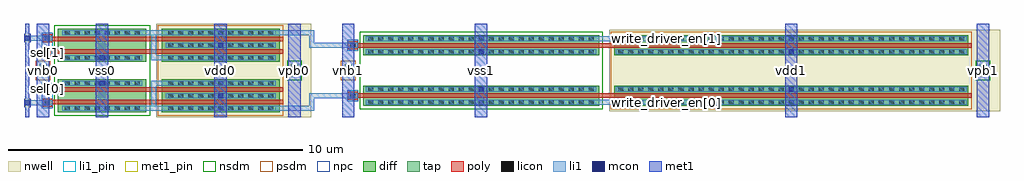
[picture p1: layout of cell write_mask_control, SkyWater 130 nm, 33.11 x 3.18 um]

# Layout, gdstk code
import gdstk
lib = gdstk.Library(unit=1e-6, precision=1e-09)
def R(c, l, rs):  # rectangles x0, y0, x1, y1
    for r in rs: c.add(gdstk.rectangle(r[:2], r[2:], *l))
def A(c, l, x, y, w, h, nx, ny, dx, dy):  # array of equal rectangles
    R(c, l, [(x+i*dx, y+j*dy, x+i*dx+w, y+j*dy+h) for i in range(nx) for j in range(ny)])
nwell = (64, 20)
diff = (65, 20)
tap = (65, 44)
poly = (66, 20)
licon = (66, 44)
li1_pin = (67, 16)
li1 = (67, 20)
mcon = (67, 44)
met1_pin = (68, 16)
met1 = (68, 20)
nsdm = (93, 44)
psdm = (94, 20)
npc = (95, 20)

ntap_1x1v = lib.new_cell('ntap_1x1v')
R(ntap_1x1v, tap, [(-0.04,-0.12,0.21,0.29)])
R(ntap_1x1v, licon, [(0,0,0.17,0.17)])
R(ntap_1x1v, li1, [(0,-0.08,0.17,0.25)])
R(ntap_1x1v, nsdm, [(-0.165,-0.245,0.335,0.415)])

ptap_1x1v = lib.new_cell('ptap_1x1v')
R(ptap_1x1v, tap, [(-0.04,-0.12,0.21,0.29)])
R(ptap_1x1v, licon, [(0,0,0.17,0.17)])
R(ptap_1x1v, li1, [(0,-0.08,0.17,0.25)])
R(ptap_1x1v, psdm, [(-0.165,-0.245,0.335,0.415)])

viali_1x1v = lib.new_cell('viali_1x1v')
R(viali_1x1v, li1, [(0,0,0.17,0.17)])
R(viali_1x1v, mcon, [(0,0,0.17,0.17)])
R(viali_1x1v, met1, [(-0.03,-0.06,0.2,0.23)])

viali_1x1h = lib.new_cell('viali_1x1h')
R(viali_1x1h, li1, [(0,0,0.17,0.17)])
R(viali_1x1h, mcon, [(0,0,0.17,0.17)])
R(viali_1x1h, met1, [(-0.06,-0.03,0.23,0.2)])

write_mask_control_and2_ = lib.new_cell('write_mask_control_and2_array_nand_array_route')
R(write_mask_control_and2_, met1, [(-0.715,-0.18,-0.295,3), (1.29,-0.18,1.71,3), (5.31,-0.18,5.73,3), (7.815,-0.18,8.235,3)])
write_mask_control_and2_.add(gdstk.Reference(viali_1x1v, (7.94,1.325)))
write_mask_control_and2_.add(gdstk.Reference(viali_1x1v, (-0.59,1.325)))
write_mask_control_and2_.add(gdstk.Reference(viali_1x1h, (5.435,0.47)))
write_mask_control_and2_.add(gdstk.Reference(viali_1x1h, (5.435,2.18)))
write_mask_control_and2_.add(gdstk.Reference(viali_1x1h, (1.415,0.9)))
write_mask_control_and2_.add(gdstk.Reference(viali_1x1h, (1.415,1.75)))

polyc_1x1h = lib.new_cell('polyc_1x1h')
R(polyc_1x1h, poly, [(-0.08,-0.05,0.25,0.22)])
R(polyc_1x1h, licon, [(0,0,0.17,0.17)])
R(polyc_1x1h, li1, [(-0.08,0,0.25,0.17)])
R(polyc_1x1h, npc, [(-0.1,-0.1,0.27,0.27)])

ndiffc_1x8h = lib.new_cell('ndiffc_1x8h')
R(ndiffc_1x8h, diff, [(-0.06,-0.04,2.61,0.21)])
A(ndiffc_1x8h, licon, 0, 0, 0.17, 0.17, 8, 1, 0.34, 0)
R(ndiffc_1x8h, li1, [(-0.08,0,2.63,0.17)])
R(ndiffc_1x8h, nsdm, [(-0.185,-0.165,2.735,0.335)])

pdiffc_1x11h = lib.new_cell('pdiffc_1x11h')
R(pdiffc_1x11h, nwell, [(-0.24,-0.22,3.81,0.39)])
R(pdiffc_1x11h, diff, [(-0.06,-0.04,3.63,0.21)])
A(pdiffc_1x11h, licon, 0, 0, 0.17, 0.17, 11, 1, 0.34, 0)
R(pdiffc_1x11h, li1, [(-0.08,0,3.65,0.17)])
R(pdiffc_1x11h, psdm, [(-0.185,-0.165,3.755,0.335)])

ptx__nmos_svt_3000_150_2 = lib.new_cell('ptx__nmos_svt_3000_150_2__pmos_svt_4000_150_2')
R(ptx__nmos_svt_3000_150_2, nwell, [(3.34,-0.18,7.7,1.29)])
R(ptx__nmos_svt_3000_150_2, diff, [(0,0,3,1.11), (3.52,0,7.52,1.11)])
R(ptx__nmos_svt_3000_150_2, poly, [(-0.19,0.265,7.65,0.415), (-0.19,0.695,7.65,0.845)])
R(ptx__nmos_svt_3000_150_2, nsdm, [(-0.125,-0.125,3.125,1.235)])
R(ptx__nmos_svt_3000_150_2, psdm, [(3.395,-0.125,7.645,1.235)])
R(ptx__nmos_svt_3000_150_2, npc, [(-0.54,0.13,-0.17,0.98)])
ptx__nmos_svt_3000_150_2.add(gdstk.Reference(polyc_1x1h, (-0.44,0.23)))
ptx__nmos_svt_3000_150_2.add(gdstk.Reference(polyc_1x1h, (-0.44,0.71)))
ptx__nmos_svt_3000_150_2.add(gdstk.Reference(ndiffc_1x8h, (0.225,0.04)))
ptx__nmos_svt_3000_150_2.add(gdstk.Reference(pdiffc_1x11h, (3.735,0.04)))
ptx__nmos_svt_3000_150_2.add(gdstk.Reference(pdiffc_1x11h, (3.735,0.47)))
ptx__nmos_svt_3000_150_2.add(gdstk.Reference(ndiffc_1x8h, (0.225,0.9)))
ptx__nmos_svt_3000_150_2.add(gdstk.Reference(pdiffc_1x11h, (3.735,0.9)))

c_write_mask_control_and2_ = lib.new_cell('write_mask_control_and2_nand')
R(c_write_mask_control_and2_, li1, [(3.17,0.04,3.34,1.07), (3.17,0.04,7.385,0.21), (0.145,0.9,7.385,1.07)])
c_write_mask_control_and2_.add(gdstk.Reference(ptx__nmos_svt_3000_150_2, (0,0)))

c_write_mask_control_and2__ = lib.new_cell('write_mask_control_and2_array_nand_array_array')
c_write_mask_control_and2__.add(gdstk.Reference(c_write_mask_control_and2_, (0,1.11), x_reflection=True))
c_write_mask_control_and2__.add(gdstk.Reference(c_write_mask_control_and2_, (0,1.71)))

c_write_mask_control_and2___ = lib.new_cell('write_mask_control_and2_array_nand_array')
R(c_write_mask_control_and2___, nwell, [(3.34,-0.18,8.6,3)])
R(c_write_mask_control_and2___, met1_pin, [(-0.715,-0.18,-0.295,3), (1.29,-0.18,1.71,3), (5.31,-0.18,5.73,3), (7.815,-0.18,8.235,3)])
R(c_write_mask_control_and2___, nsdm, [(-0.125,-0.125,3.125,2.945)])
R(c_write_mask_control_and2___, psdm, [(3.395,-0.125,7.645,2.945)])
c_write_mask_control_and2___.add(gdstk.Reference(ntap_1x1v, (7.94,1.325)))
c_write_mask_control_and2___.add(gdstk.Reference(ptap_1x1v, (-0.59,1.325)))
c_write_mask_control_and2___.add(gdstk.Reference(write_mask_control_and2_, (0,0)))
c_write_mask_control_and2___.add(gdstk.Reference(c_write_mask_control_and2__, (0,0)))
c_write_mask_control_and2___.add(gdstk.Label('vpb', (8.025,1.41), layer=68, texttype=16))
c_write_mask_control_and2___.add(gdstk.Label('vnb', (-0.505,1.41), layer=68, texttype=16))
c_write_mask_control_and2___.add(gdstk.Label('vdd', (5.52,1.41), layer=68, texttype=16))
c_write_mask_control_and2___.add(gdstk.Label('vss', (1.5,1.41), layer=68, texttype=16))

c_write_mask_control_and2____ = lib.new_cell('write_mask_control_and2_array_inv_array_route')
R(c_write_mask_control_and2____, met1, [(-0.715,-0.18,-0.295,2.57), (3.79,-0.18,4.21,2.57), (14.31,-0.18,14.73,2.57), (20.815,-0.18,21.235,2.57)])
c_write_mask_control_and2____.add(gdstk.Reference(viali_1x1v, (20.94,1.11)))
c_write_mask_control_and2____.add(gdstk.Reference(viali_1x1v, (-0.59,1.11)))
c_write_mask_control_and2____.add(gdstk.Reference(viali_1x1h, (14.435,0.47)))
c_write_mask_control_and2____.add(gdstk.Reference(viali_1x1h, (14.435,1.75)))
c_write_mask_control_and2____.add(gdstk.Reference(viali_1x1h, (3.915,0.47)))
c_write_mask_control_and2____.add(gdstk.Reference(viali_1x1h, (3.915,1.75)))

ndiffc_1x23h = lib.new_cell('ndiffc_1x23h')
R(ndiffc_1x23h, diff, [(-0.06,-0.04,7.71,0.21)])
A(ndiffc_1x23h, licon, 0, 0, 0.17, 0.17, 23, 1, 0.34, 0)
R(ndiffc_1x23h, li1, [(-0.08,0,7.73,0.17)])
R(ndiffc_1x23h, nsdm, [(-0.185,-0.165,7.835,0.335)])

pdiffc_1x35h = lib.new_cell('pdiffc_1x35h')
R(pdiffc_1x35h, nwell, [(-0.24,-0.22,11.97,0.39)])
R(pdiffc_1x35h, diff, [(-0.06,-0.04,11.79,0.21)])
A(pdiffc_1x35h, licon, 0, 0, 0.17, 0.17, 35, 1, 0.34, 0)
R(pdiffc_1x35h, li1, [(-0.08,0,11.81,0.17)])
R(pdiffc_1x35h, psdm, [(-0.185,-0.165,11.915,0.335)])

ptx__nmos_svt_8000_150_1 = lib.new_cell('ptx__nmos_svt_8000_150_1__pmos_svt_12000_150_1')
R(ptx__nmos_svt_8000_150_1, nwell, [(8.34,-0.18,20.7,0.86)])
R(ptx__nmos_svt_8000_150_1, diff, [(0,0,8,0.68), (8.52,0,20.52,0.68)])
R(ptx__nmos_svt_8000_150_1, poly, [(-0.19,0.265,20.65,0.415)])
R(ptx__nmos_svt_8000_150_1, nsdm, [(-0.125,-0.125,8.125,0.805)])
R(ptx__nmos_svt_8000_150_1, psdm, [(8.395,-0.125,20.645,0.805)])
R(ptx__nmos_svt_8000_150_1, npc, [(-0.54,0.155,-0.17,0.525)])
ptx__nmos_svt_8000_150_1.add(gdstk.Reference(polyc_1x1h, (-0.44,0.255)))
ptx__nmos_svt_8000_150_1.add(gdstk.Reference(ndiffc_1x23h, (0.175,0.04)))
ptx__nmos_svt_8000_150_1.add(gdstk.Reference(pdiffc_1x35h, (8.655,0.04)))
ptx__nmos_svt_8000_150_1.add(gdstk.Reference(ndiffc_1x23h, (0.175,0.47)))
ptx__nmos_svt_8000_150_1.add(gdstk.Reference(pdiffc_1x35h, (8.655,0.47)))

c_write_mask_control_and2_____ = lib.new_cell('write_mask_control_and2_inv')
R(c_write_mask_control_and2_____, li1, [(0.095,0.47,20.465,0.64)])
c_write_mask_control_and2_____.add(gdstk.Reference(ptx__nmos_svt_8000_150_1, (0,0)))

c_write_mask_control_and2______ = lib.new_cell('write_mask_control_and2_array_inv_array_array')
c_write_mask_control_and2______.add(gdstk.Reference(c_write_mask_control_and2_____, (0,0.68), x_reflection=True))
c_write_mask_control_and2______.add(gdstk.Reference(c_write_mask_control_and2_____, (0,1.71)))

c_write_mask_control_and2_______ = lib.new_cell('write_mask_control_and2_array_inv_array')
R(c_write_mask_control_and2_______, nwell, [(8.34,-0.18,21.6,2.57)])
R(c_write_mask_control_and2_______, met1_pin, [(-0.715,-0.18,-0.295,2.57), (3.79,-0.18,4.21,2.57), (14.31,-0.18,14.73,2.57), (20.815,-0.18,21.235,2.57)])
R(c_write_mask_control_and2_______, nsdm, [(-0.125,-0.125,8.125,2.515)])
R(c_write_mask_control_and2_______, psdm, [(8.395,-0.125,20.645,2.515)])
c_write_mask_control_and2_______.add(gdstk.Reference(ntap_1x1v, (20.94,1.11)))
c_write_mask_control_and2_______.add(gdstk.Reference(ptap_1x1v, (-0.59,1.11)))
c_write_mask_control_and2_______.add(gdstk.Reference(c_write_mask_control_and2____, (0,0)))
c_write_mask_control_and2_______.add(gdstk.Reference(c_write_mask_control_and2______, (0,0)))
c_write_mask_control_and2_______.add(gdstk.Label('vpb', (21.025,1.195), layer=68, texttype=16))
c_write_mask_control_and2_______.add(gdstk.Label('vnb', (-0.505,1.195), layer=68, texttype=16))
c_write_mask_control_and2_______.add(gdstk.Label('vdd', (14.52,1.195), layer=68, texttype=16))
c_write_mask_control_and2_______.add(gdstk.Label('vss', (4,1.195), layer=68, texttype=16))

c_write_mask_control_and2________ = lib.new_cell('write_mask_control_and2_array_route')
R(c_write_mask_control_and2________, li1, [(0.145,0.04,7.385,0.21), (7.385,0.04,8.525,0.21), (8.525,0.04,8.695,0.64), (8.695,0.47,9.835,0.64), (8.525,2.18,8.695,2.78), (8.695,2.18,9.835,2.35), (0.145,2.61,7.385,2.78), (7.385,2.61,8.525,2.78)])

c_write_mask_control_and2_________ = lib.new_cell('write_mask_control_and2_array')
R(c_write_mask_control_and2_________, li1_pin, [(0.145,0.04,7.385,0.21), (-0.52,0.23,-0.19,0.4), (10.45,0.255,30.82,0.425), (-0.52,0.71,-0.19,0.88), (-0.52,1.94,-0.19,2.11), (10.45,2.395,30.82,2.565), (-0.52,2.42,-0.19,2.59), (0.145,2.61,7.385,2.78)])
R(c_write_mask_control_and2_________, met1_pin, [(-0.715,-0.18,-0.295,3), (1.29,-0.18,1.71,3), (5.31,-0.18,5.73,3), (7.815,-0.18,8.235,3), (9.64,0.035,10.06,2.785), (14.145,0.035,14.565,2.785), (24.665,0.035,25.085,2.785), (31.17,0.035,31.59,2.785)])
c_write_mask_control_and2_________.add(gdstk.Reference(c_write_mask_control_and2___, (0,0)))
c_write_mask_control_and2_________.add(gdstk.Reference(c_write_mask_control_and2_______, (10.355,0.215)))
c_write_mask_control_and2_________.add(gdstk.Reference(c_write_mask_control_and2________, (0,0)))
c_write_mask_control_and2_________.add(gdstk.Label('a[0]', (-0.355,0.795), layer=67, texttype=16))
c_write_mask_control_and2_________.add(gdstk.Label('b[0]', (-0.355,0.315), layer=67, texttype=16))
c_write_mask_control_and2_________.add(gdstk.Label('y_b[0]', (3.765,0.125), layer=67, texttype=16))
c_write_mask_control_and2_________.add(gdstk.Label('y[0]', (20.635,0.34), layer=67, texttype=16))
c_write_mask_control_and2_________.add(gdstk.Label('a[1]', (-0.355,2.025), layer=67, texttype=16))
c_write_mask_control_and2_________.add(gdstk.Label('b[1]', (-0.355,2.505), layer=67, texttype=16))
c_write_mask_control_and2_________.add(gdstk.Label('y_b[1]', (3.765,2.695), layer=67, texttype=16))
c_write_mask_control_and2_________.add(gdstk.Label('y[1]', (20.635,2.48), layer=67, texttype=16))
c_write_mask_control_and2_________.add(gdstk.Label('vdd0', (5.52,1.41), layer=68, texttype=16))
c_write_mask_control_and2_________.add(gdstk.Label('vss0', (1.5,1.41), layer=68, texttype=16))
c_write_mask_control_and2_________.add(gdstk.Label('vnb0', (-0.505,1.41), layer=68, texttype=16))
c_write_mask_control_and2_________.add(gdstk.Label('vpb0', (8.025,1.41), layer=68, texttype=16))
c_write_mask_control_and2_________.add(gdstk.Label('vdd1', (24.875,1.41), layer=68, texttype=16))
c_write_mask_control_and2_________.add(gdstk.Label('vss1', (14.355,1.41), layer=68, texttype=16))
c_write_mask_control_and2_________.add(gdstk.Label('vnb1', (9.85,1.41), layer=68, texttype=16))
c_write_mask_control_and2_________.add(gdstk.Label('vpb1', (31.38,1.41), layer=68, texttype=16))

write_mask_control_route = lib.new_cell('write_mask_control_route')
R(write_mask_control_route, li1, [(-1.105,0.23,-0.35,0.4), (-0.52,0.23,-0.19,0.4), (-1.105,2.42,-0.35,2.59), (-0.52,2.42,-0.19,2.59)])
write_mask_control_route.add(gdstk.Reference(viali_1x1v, (-1.12,0.23)))
write_mask_control_route.add(gdstk.Reference(viali_1x1v, (-1.12,2.42)))

write_mask_control = lib.new_cell('write_mask_control')
R(write_mask_control, li1_pin, [(10.45,0.255,30.82,0.425), (-0.52,0.71,-0.19,0.88), (-0.52,1.94,-0.19,2.11), (10.45,2.395,30.82,2.565)])
R(write_mask_control, met1_pin, [(-1.105,-0.18,-0.965,3), (-0.715,-0.18,-0.295,3), (1.29,-0.18,1.71,3), (5.31,-0.18,5.73,3), (7.815,-0.18,8.235,3), (9.64,-0.18,10.06,3), (14.145,-0.18,14.565,3), (24.665,-0.18,25.085,3), (31.17,-0.18,31.59,3)])
R(write_mask_control, met1, [(-1.105,-0.18,-0.965,3), (-0.715,-0.18,-0.295,3), (1.29,-0.18,1.71,3), (5.31,-0.18,5.73,3), (7.815,-0.18,8.235,3), (9.64,-0.18,10.06,3), (14.145,-0.18,14.565,3), (24.665,-0.18,25.085,3), (31.17,-0.18,31.59,3)])
write_mask_control.add(gdstk.Reference(c_write_mask_control_and2_________, (0,0)))
write_mask_control.add(gdstk.Reference(write_mask_control_route, (0,0)))
write_mask_control.add(gdstk.Label('vnb0', (-0.505,1.41), layer=68, texttype=16))
write_mask_control.add(gdstk.Label('vss0', (1.5,1.41), layer=68, texttype=16))
write_mask_control.add(gdstk.Label('vdd0', (5.52,1.41), layer=68, texttype=16))
write_mask_control.add(gdstk.Label('vpb0', (8.025,1.41), layer=68, texttype=16))
write_mask_control.add(gdstk.Label('vnb1', (9.85,1.41), layer=68, texttype=16))
write_mask_control.add(gdstk.Label('vss1', (14.355,1.41), layer=68, texttype=16))
write_mask_control.add(gdstk.Label('vdd1', (24.875,1.41), layer=68, texttype=16))
write_mask_control.add(gdstk.Label('vpb1', (31.38,1.41), layer=68, texttype=16))
write_mask_control.add(gdstk.Label('sel[0]', (-0.355,0.795), layer=67, texttype=16))
write_mask_control.add(gdstk.Label('write_driver_en[0]', (20.635,0.34), layer=67, texttype=16))
write_mask_control.add(gdstk.Label('sel[1]', (-0.355,2.025), layer=67, texttype=16))
write_mask_control.add(gdstk.Label('write_driver_en[1]', (20.635,2.48), layer=67, texttype=16))
write_mask_control.add(gdstk.Label('wr_en', (-1.035,1.41), layer=68, texttype=16))

lib.write_gds('write_mask_control.gds')
